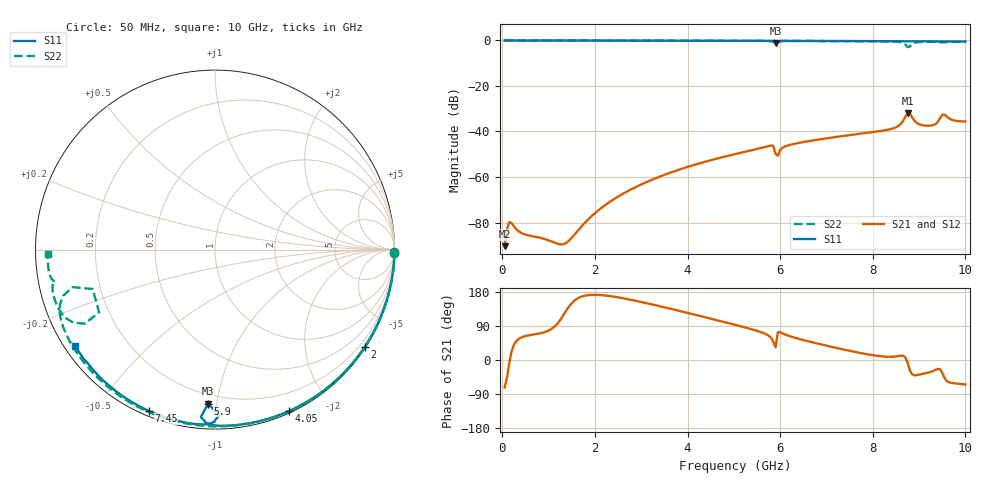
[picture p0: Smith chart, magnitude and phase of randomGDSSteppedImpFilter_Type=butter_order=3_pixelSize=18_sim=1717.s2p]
! freq	dB(S11)	phase(S11)	dB(S12)	phase(S12)
!  dB(S21)	phase(S21)	dB(S22)	phase(S22)
!S-par simulation data
#  GHz  S  DB  R 50
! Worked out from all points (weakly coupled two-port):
!   200 points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, 50 MHz to 10 GHz, reference 50 ohm
!   highest |S21| = -31.88 dB at 8.75 GHz (marker M1); lowest = -90.4 dB at 50 MHz (marker M2)
!   lowest |S11| = -1.3 dB at 5.9 GHz (marker M3), VSWR 13.19, Z = 7.22 - j47.3 ohm
!   |S11| at or under -10 dB: nowhere
!   |S22| runs from -2.9 to 0.0 dB; largest |S21 - S12| = 0
!   S11 on the Smith chart (normalised r, x): 50 MHz: open; 2 GHz: 0.03, -3.36; 4.05 GHz: 0.02, -1.56; 5.9 GHz: 0.14, -0.95; 7.45 GHz: 0.02, -0.67; 10 GHz: 0.03, -0.31
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0.05  -0.00 -0.8  -90.40 -72.9  -90.40 -72.9  -0.00 -1.0
1.75  -0.04 -29.1  -80.82 168.7  -80.82 168.7  -0.04 -34.7
2  -0.04 -33.2  -75.90 172.0  -75.90 172.0  -0.05 -39.6
2.6  -0.06 -42.8  -67.43 163.1  -67.43 163.1  -0.07 -51.0
3.4  -0.07 -55.3  -59.83 142.0  -59.83 142.0  -0.09 -65.9
4.05  -0.09 -65.2  -55.26 122.8  -55.26 122.8  -0.11 -77.6
5.05  -0.12 -80.1  -49.84 92.1  -49.84 92.1  -0.15 -95.1
5.8  -0.30 -93.0  -46.20 59.2  -46.20 59.2  -0.18 -107.9
5.85  -0.57 -94.8  -46.22 48.8  -46.22 48.8  -0.19 -108.8
5.9  -1.32 -92.6  -49.82 33.3  -49.82 33.3  -0.19 -109.6
5.95  -0.69 -88.6  -50.67 73.3  -50.67 73.3  -0.19 -110.4
6.05  -0.26 -91.8  -47.15 70.5  -47.15 70.5  -0.20 -112.1
6.7  -0.21 -102.2  -43.96 46.5  -43.96 46.5  -0.24 -123.1
7.45  -0.25 -112.3  -41.73 25.5  -41.73 25.5  -0.31 -135.9
8.35  -0.32 -124.1  -39.12 8.4  -39.12 8.4  -0.45 -153.0
8.65  -0.35 -128.0  -35.51 11.4  -35.51 11.4  -1.06 -163.1
8.75  -0.36 -129.3  -31.88 -6.3  -31.88 -6.3  -2.91 -162.1
8.85  -0.36 -130.6  -33.79 -38.0  -33.79 -38.0  -1.57 -150.4
9.1  -0.39 -133.8  -37.36 -35.9  -37.36 -35.9  -0.60 -160.1
9.35  -0.43 -137.0  -36.77 -26.5  -36.77 -26.5  -0.62 -166.4
9.55  -0.43 -139.5  -32.55 -47.6  -32.55 -47.6  -0.78 -168.9
10  -0.49 -145.5  -35.62 -64.8  -35.62 -64.8  -0.61 -178.6
